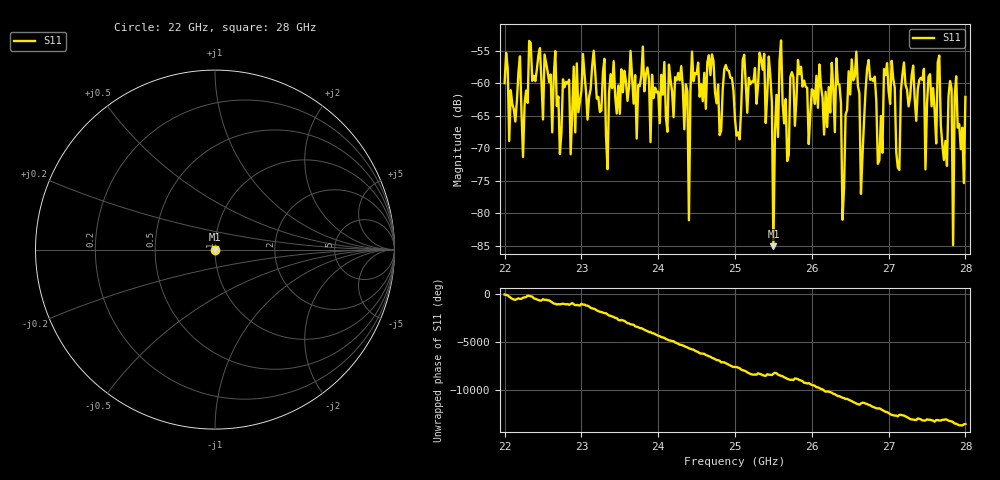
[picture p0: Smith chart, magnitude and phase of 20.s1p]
#  HZ  S  RI  R  50.00
! Rohde & Schwarz ZVA40 4Ports - Version 3.90 - 1145.1110k42 SN: 100403
! Date: 2023-10-04 11:38:19
! Measurement: S12
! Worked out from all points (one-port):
!   301 points, 22 GHz to 28 GHz, reference 50 ohm
!   lowest |S11| = -85.0 dB at 25.5 GHz (marker M1), VSWR 1.00, Z = 50 - j0.00067 ohm
!   |S11| at or under -10 dB: start of sweep to end of sweep
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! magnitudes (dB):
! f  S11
! 22 GHz  -60.0
! 22.76 GHz  -59.4
! 23.5 GHz  -64.7
! 24.26 GHz  -58.4
! 24.38 GHz  -61.2
! 24.4 GHz  -81.0
! 24.44 GHz  -55.1
! 25 GHz  -65.5
! 25.44 GHz  -55.9
! 25.5 GHz  -85.0
! 25.6 GHz  -53.4
! 25.68 GHz  -71.9
! 25.76 GHz  -59.0
! 26.32 GHz  -56.2
! 26.4 GHz  -81.0
! 26.5 GHz  -61.7
! 26.58 GHz  -55.1
! 26.64 GHz  -77.0
! 26.74 GHz  -56.4
! 26.86 GHz  -72.4
! 26.98 GHz  -56.9
! 27.26 GHz  -63.6
! 27.76 GHz  -72.7
! 27.8 GHz  -59.7
! 27.84 GHz  -84.9
! 27.88 GHz  -58.9
! 27.98 GHz  -75.3
! 28 GHz  -62.1
